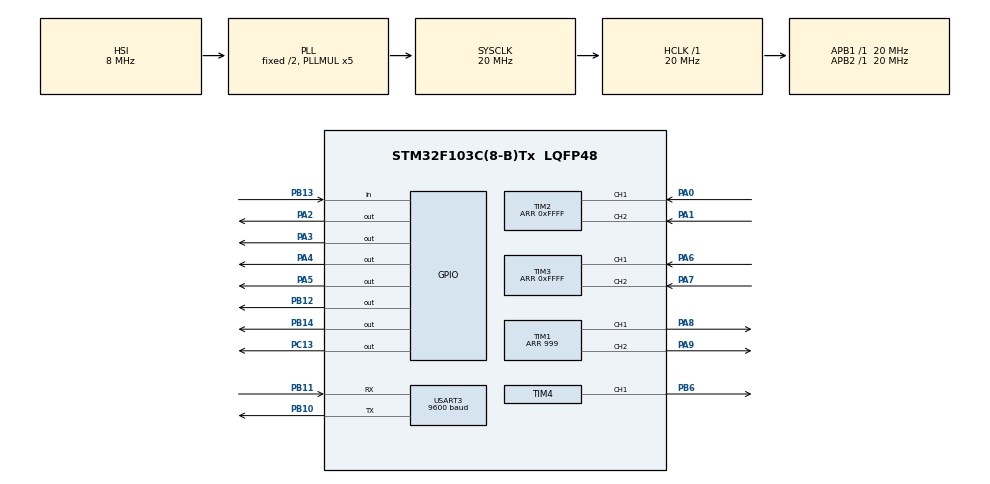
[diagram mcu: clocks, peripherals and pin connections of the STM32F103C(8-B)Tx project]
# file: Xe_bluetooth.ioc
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Mcu.Family=STM32F1
Mcu.Name=STM32F103C(8-B)Tx
Mcu.Package=LQFP48
NVIC.PriorityGroup=NVIC_PRIORITYGROUP_4
NVIC.USART3_IRQn=true\:0\:0\:false\:false\:true\:true\:true\:true
PA0-WKUP.GPIO_PuPd=GPIO_PULLUP
PA0-WKUP.Signal=S_TIM2_CH1_ETR
PA1.GPIO_PuPd=GPIO_PULLUP
PA1.Signal=S_TIM2_CH2
PA13.Mode=Serial_Wire
PA13.Signal=SYS_JTMS-SWDIO
PA14.Mode=Serial_Wire
PA14.Signal=SYS_JTCK-SWCLK
PA2.Signal=GPIO_Output
PA3.Signal=GPIO_Output
PA4.Signal=GPIO_Output
PA5.Signal=GPIO_Output
PA6.GPIO_PuPd=GPIO_PULLUP
PA6.Signal=S_TIM3_CH1
PA7.GPIO_PuPd=GPIO_PULLUP
PA7.Signal=S_TIM3_CH2
PA8.Signal=S_TIM1_CH1
PA9.Signal=S_TIM1_CH2
PB10.Mode=Asynchronous
PB10.Signal=USART3_TX
PB11.Mode=Asynchronous
PB11.Signal=USART3_RX
PB12.Signal=GPIO_Output
PB13.Signal=GPIO_Input
PB14.Signal=GPIO_Output
PB6.Signal=S_TIM4_CH1
PC13-TAMPER-RTC.Signal=GPIO_Output
PD0-OSC_IN.Mode=HSE-External-Oscillator
PD0-OSC_IN.Signal=RCC_OSC_IN
PD1-OSC_OUT.Mode=HSE-External-Oscillator
PD1-OSC_OUT.Signal=RCC_OSC_OUT
ProjectManager.HeapSize=0x200
ProjectManager.StackSize=0x400
ProjectManager.TargetToolchain=STM32CubeIDE
RCC.AHBFreq_Value=20000000
RCC.APB1Freq_Value=20000000
RCC.APB1TimFreq_Value=20000000
RCC.APB2Freq_Value=20000000
RCC.APB2TimFreq_Value=20000000
RCC.HCLKFreq_Value=20000000
RCC.PLLMUL=RCC_PLL_MUL5
RCC.SYSCLKFreq_VALUE=20000000
RCC.SYSCLKSource=RCC_SYSCLKSOURCE_PLLCLK
RCC.USBFreq_Value=20000000
SH.S_TIM1_CH1.0=TIM1_CH1,PWM Generation1 CH1
SH.S_TIM1_CH2.0=TIM1_CH2,PWM Generation2 CH2
SH.S_TIM2_CH1_ETR.0=TIM2_CH1,Encoder_Interface
SH.S_TIM2_CH2.0=TIM2_CH2,Encoder_Interface
SH.S_TIM3_CH1.0=TIM3_CH1,Encoder_Interface
SH.S_TIM3_CH2.0=TIM3_CH2,Encoder_Interface
SH.S_TIM4_CH1.0=TIM4_CH1,PWM Generation1 CH1
TIM1.Channel-PWM\ Generation1\ CH1=TIM_CHANNEL_1
TIM1.Channel-PWM\ Generation2\ CH2=TIM_CHANNEL_2
TIM1.Period=999
TIM2.EncoderMode=TIM_ENCODERMODE_TI12
TIM2.Period=0xFFFF
TIM3.EncoderMode=TIM_ENCODERMODE_TI12
TIM3.Period=0xFFFF
TIM4.Channel-PWM\ Generation1\ CH1=TIM_CHANNEL_1
TIM4.Period=0xffff-1
TIM4.Prescaler=20-1
USART3.BaudRate=9600
USART3.VirtualMode=VM_ASYNC
VP_TIM1_VS_ClockSourceINT.Mode=Internal
VP_TIM4_VS_ClockSourceINT.Mode=Internal
board=custom

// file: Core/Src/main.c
/* USER CODE BEGIN Header */
/**
  ******************************************************************************
  * @file           : main.c
  * @brief          : Main program body
  ******************************************************************************
  * @attention
  *
  * Copyright (c) 2022 STMicroelectronics.
  * All rights reserved.
  *
  * This software is licensed under terms that can be found in the LICENSE file
  * in the root directory of this software component.
  * If no LICENSE file comes with this software, it is provided AS-IS.
  *
  ******************************************************************************
  */
/* USER CODE END Header */
#include "main.h"

TIM_HandleTypeDef htim1;
TIM_HandleTypeDef htim2;
TIM_HandleTypeDef htim3;
TIM_HandleTypeDef htim4;

UART_HandleTypeDef huart3;

/* USER CODE BEGIN PV */
uint8_t Rx_Buff;
uint8_t UART_buffer[1000];
uint8_t UART_num = 0;
uint32_t time = 0;
uint32_t time_pressing = 0;
volatile int16_t en_counter_1 = 0, en_counter_2 = 0, pre_en_counter_1 = 0, pre_encounter_2 = 0;
volatile float rate_1 = 0, rate_2 = 0, rate_60_1 = 0, rate_60_2 = 0;
float Kp1 = 49, Kp2 = 63;
float Ki1 = 0, Ki2 = 0;
float Kd1 = 40, Kd2 = 56;
float PID_val_1, pre_PID_val_1 = 0;
float PID_val_2, pre_PID_val_2 = 0;
float error_1 = 0, pre_error_1 = 0, pre_pre_error_1 = 0, error_2 = 0, pre_error_2 = 0, pre_pre_error_2 = 0;
float first_val = 280;
float P_1 = 0, P_2 = 0;
float I_1 = 0, I_2 = 0;
float D_1 = 0, D_2 = 0;
uint8_t s = 30;
int PID_1 = 0, PID_2 = 0;
int PWM1 = 0, PWM2 = 0;
int condition = 1;
/* USER CODE END PV */

void SystemClock_Config(void);
static void MX_GPIO_Init(void);
static void MX_TIM1_Init(void);
static void MX_TIM2_Init(void);
static void MX_TIM3_Init(void);
static void MX_USART3_UART_Init(void);
static void MX_TIM4_Init(void);

/* USER CODE BEGIN 0 */
void delay_us(uint16_t us){
	htim4.Instance->CNT = 0;
	HAL_TIM_Base_Start(&htim4);
	while(htim4.Instance->CNT < us);
	HAL_TIM_Base_Stop(&htim4);
}

uint8_t get_distance()
{
	HAL_GPIO_WritePin(GPIOB, GPIO_PIN_12, 1);
	delay_us(10);
	HAL_GPIO_WritePin(GPIOB, GPIO_PIN_12, 0);

	while(HAL_GPIO_ReadPin(GPIOB, GPIO_PIN_13) == 0);

	HAL_TIM_Base_Start(&htim4);

	while(1)
	{
		if(HAL_GPIO_ReadPin(GPIOB, GPIO_PIN_13) == 0)
		{
			HAL_TIM_Base_Stop(&htim4);
			break;
		}
		if(htim4.Instance->CNT > 171600)
		{
			HAL_TIM_Base_Stop(&htim4);
			return 0;
		}
	}
	return 0.017 * htim4.Instance->CNT;
}

void cal_pid()
{
	if(HAL_GetTick() - time >= 1000)
	{
//		HAL_GPIO_TogglePin(GPIOC, GPIO_PIN_13);
		rate_1 =(en_counter_1 - pre_en_counter_1)/374.0;
		rate_60_1 = rate_1 * 15;
		rate_2 =(en_counter_2 - pre_encounter_2)/374.0;
		rate_60_2 = rate_2 * 15;

		pre_en_counter_1 = en_counter_1;
		pre_encounter_2 = en_counter_2;

		error_1 = first_val - rate_60_1;
		error_2 = first_val - rate_60_2;

		time = HAL_GetTick();
	}
	en_counter_2 = __HAL_TIM_GET_COUNTER(&htim3);
	en_counter_1 = __HAL_TIM_GET_COUNTER(&htim2);

	P_1 = error_1;
	I_1 = pre_error_1 + error_1;
	D_1 = error_1 - 2*pre_error_1 + pre_pre_error_2;
	PID_val_1 = (Kp1 * P_1) + (Ki1 *0.5 * I_1) + (Kd1 *D_1);
	pre_pre_error_1 = pre_error_1;
	pre_error_1 = error_1;
	pre_PID_val_1 = PID_val_1;
	P_2 = error_2;
	I_2 = pre_error_2 + error_2;
	D_2 = error_2 - 2*pre_error_2 + pre_pre_error_2;
	PID_val_2 = (Kp2 * P_2) + (Ki2 * I_2) + (Kd2 *D_2);
	pre_pre_error_1 = pre_error_1;
	pre_error_2 = error_2;
	pre_PID_val_2 = PID_val_2;
}
void HAL_UART_RxCpltCallback(UART_HandleTypeDef *huart)
{
	if(huart->Instance == huart3.Instance)
	{
		if(UART_num == 0)
		{
			UART_buffer[UART_num] = Rx_Buff;
			UART_num++;
		}
		else
		{
			UART_buffer[UART_num] = Rx_Buff;
			if(UART_buffer[UART_num] == UART_buffer[UART_num - 1])
			{
				UART_num++;
			}
			else
			{
				UART_num = 0;
			}
		}
		HAL_UART_Receive_IT(huart, &Rx_Buff, 1);
	}
}
void ham_chuyen()
{
	if(error_1  < 0)
	{
		PID_1 = first_val - PID_val_1;
	}
	else
	{
		PID_1 = first_val + PID_val_1;
	}
	if(error_2 < 0)
	{
		PID_2 = first_val - PID_val_2;
	}
	else
	{
		PID_2 = first_val + PID_val_2;
	}
	PWM1 = (PID_1 + 86.602)/0.3664;
	PWM2 = (PID_2 + 84.177)/0.3664;

}
void UART_Handle()
{
	if(get_distance() <= s)
	{
		condition = 0;
	}
	else
	{
		condition = 1;
	}
	if (condition == 0)
	{
		HAL_GPIO_WritePin(GPIOB, GPIO_PIN_14, 1);
		switch((char)UART_buffer[0])
					{
					case 'F':
						HAL_GPIO_WritePin(GPIOA, GPIO_PIN_2, 0);
						HAL_GPIO_WritePin(GPIOA, GPIO_PIN_3, 0);
						HAL_GPIO_WritePin(GPIOA, GPIO_PIN_4, 0);
						HAL_GPIO_WritePin(GPIOA, GPIO_PIN_5, 0);
							cal_pid();
							ham_chuyen();
						__HAL_TIM_SET_COMPARE(&htim1,TIM_CHANNEL_1,1000);
						__HAL_TIM_SET_COMPARE(&htim1,TIM_CHANNEL_2,1000);
						break;
					case 'B':
						HAL_GPIO_WritePin(GPIOA, GPIO_PIN_2, 1);
						HAL_GPIO_WritePin(GPIOA, GPIO_PIN_3, 0);
						HAL_GPIO_WritePin(GPIOA, GPIO_PIN_4, 1);
						HAL_GPIO_WritePin(GPIOA, GPIO_PIN_5, 0);
						__HAL_TIM_SET_COMPARE(&htim1,TIM_CHANNEL_1,1000);
						__HAL_TIM_SET_COMPARE(&htim1,TIM_CHANNEL_2,960);
						break;
					case 'L':
						HAL_GPIO_WritePin(GPIOA, GPIO_PIN_2, 0);
						HAL_GPIO_WritePin(GPIOA, GPIO_PIN_3, 1);
						HAL_GPIO_WritePin(GPIOA, GPIO_PIN_4, 0);
						HAL_GPIO_WritePin(GPIOA, GPIO_PIN_5, 0);
						__HAL_TIM_SET_COMPARE(&htim1,TIM_CHANNEL_1,1000);
						__HAL_TIM_SET_COMPARE(&htim1,TIM_CHANNEL_2,1000);
						break;
					case 'R':
						HAL_GPIO_WritePin(GPIOA, GPIO_PIN_2, 0);
						HAL_GPIO_WritePin(GPIOA, GPIO_PIN_3, 0);
						HAL_GPIO_WritePin(GPIOA, GPIO_PIN_4, 0);
						HAL_GPIO_WritePin(GPIOA, GPIO_PIN_5, 1);
						__HAL_TIM_SET_COMPARE(&htim1,TIM_CHANNEL_1,1000);
						__HAL_TIM_SET_COMPARE(&htim1,TIM_CHANNEL_2,1000);
						break;

					case 'I':
						HAL_GPIO_WritePin(GPIOA, GPIO_PIN_2, 0);
						HAL_GPIO_WritePin(GPIOA, GPIO_PIN_3, 1);
						HAL_GPIO_WritePin(GPIOA, GPIO_PIN_4, 0);
						HAL_GPIO_WritePin(GPIOA, GPIO_PIN_5, 1);
						__HAL_TIM_SET_COMPARE(&htim1,TIM_CHANNEL_1,700);
						__HAL_TIM_SET_COMPARE(&htim1,TIM_CHANNEL_2,1000);
						break;
					case 'J':
						HAL_GPIO_WritePin(GPIOA, GPIO_PIN_2, 1);
						HAL_GPIO_WritePin(GPIOA, GPIO_PIN_3, 0);
						HAL_GPIO_WritePin(GPIOA, GPIO_PIN_4, 1);
						HAL_GPIO_WritePin(GPIOA, GPIO_PIN_5, 0);
						__HAL_TIM_SET_COMPARE(&htim1,TIM_CHANNEL_1,700);
						__HAL_TIM_SET_COMPARE(&htim1,TIM_CHANNEL_2,1000);
						break;
					case 'G':
						HAL_GPIO_WritePin(GPIOA, GPIO_PIN_2, 0);
						HAL_GPIO_WritePin(GPIOA, GPIO_PIN_3, 1);
						HAL_GPIO_WritePin(GPIOA, GPIO_PIN_4, 0);
						HAL_GPIO_WritePin(GPIOA, GPIO_PIN_5, 1);
						__HAL_TIM_SET_COMPARE(&htim1,TIM_CHANNEL_1,1000);
						__HAL_TIM_SET_COMPARE(&htim1,TIM_CHANNEL_2,700);
						break;
					case 'H':
						HAL_GPIO_WritePin(GPIOA, GPIO_PIN_2, 1);
						HAL_GPIO_WritePin(GPIOA, GPIO_PIN_3, 0);
						HAL_GPIO_WritePin(GPIOA, GPIO_PIN_4, 1);
						HAL_GPIO_WritePin(GPIOA, GPIO_PIN_5, 0);
						__HAL_TIM_SET_COMPARE(&htim1,TIM_CHANNEL_1,1000);
						__HAL_TIM_SET_COMPARE(&htim1,TIM_CHANNEL_2,700);
						break;
					default:
						HAL_GPIO_WritePin(GPIOA, GPIO_PIN_2, 0);
						HAL_GPIO_WritePin(GPIOA, GPIO_PIN_3, 0);
						HAL_GPIO_WritePin(GPIOA, GPIO_PIN_4, 0);
						HAL_GPIO_WritePin(GPIOA, GPIO_PIN_5, 0);
						break;
					}
	}
	if (condition ==1)
	{
 		HAL_GPIO_WritePin(GPIOB, GPIO_PIN_14, 0);
		switch((char)UART_buffer[0])
			{
			case 'F':
				HAL_GPIO_WritePin(GPIOC, GPIO_PIN_13, 0);
				HAL_GPIO_WritePin(GPIOA, GPIO_PIN_2, 0);
				HAL_GPIO_WritePin(GPIOA, GPIO_PIN_3, 1);
				HAL_GPIO_WritePin(GPIOA, GPIO_PIN_4, 0);
				HAL_GPIO_WritePin(GPIOA, GPIO_PIN_5, 1);
					cal_pid();
					ham_chuyen();
				__HAL_TIM_SET_COMPARE(&htim1,TIM_CHANNEL_1,PWM2);
				__HAL_TIM_SET_COMPARE(&htim1,TIM_CHANNEL_2,PWM1);

				break;
			case 'B':
				HAL_GPIO_WritePin(GPIOA, GPIO_PIN_2, 1);
				HAL_GPIO_WritePin(GPIOA, GPIO_PIN_3, 0);
				HAL_GPIO_WritePin(GPIOA, GPIO_PIN_4, 1);
				HAL_GPIO_WritePin(GPIOA, GPIO_PIN_5, 0);
				__HAL_TIM_SET_COMPARE(&htim1,TIM_CHANNEL_1,1000);
				__HAL_TIM_SET_COMPARE(&htim1,TIM_CHANNEL_2,960);
				break;
			case 'L':
				HAL_GPIO_WritePin(GPIOA, GPIO_PIN_2, 0);
				HAL_GPIO_WritePin(GPIOA, GPIO_PIN_3, 1);
				HAL_GPIO_WritePin(GPIOA, GPIO_PIN_4, 0);
				HAL_GPIO_WritePin(GPIOA, GPIO_PIN_5, 0);
				__HAL_TIM_SET_COMPARE(&htim1,TIM_CHANNEL_1,1000);
				__HAL_TIM_SET_COMPARE(&htim1,TIM_CHANNEL_2,1000);
				break;
			case 'R':
				HAL_GPIO_WritePin(GPIOA, GPIO_PIN_2, 0);
				HAL_GPIO_WritePin(GPIOA, GPIO_PIN_3, 0);
				HAL_GPIO_WritePin(GPIOA, GPIO_PIN_4, 0);
				HAL_GPIO_WritePin(GPIOA, GPIO_PIN_5, 1);
				__HAL_TIM_SET_COMPARE(&htim1,TIM_CHANNEL_1,1000);
				__HAL_TIM_SET_COMPARE(&htim1,TIM_CHANNEL_2,1000);
				break;

			case 'I':
				HAL_GPIO_WritePin(GPIOA, GPIO_PIN_2, 0);
				HAL_GPIO_WritePin(GPIOA, GPIO_PIN_3, 1);
				HAL_GPIO_WritePin(GPIOA, GPIO_PIN_4, 0);
				HAL_GPIO_WritePin(GPIOA, GPIO_PIN_5, 1);
				__HAL_TIM_SET_COMPARE(&htim1,TIM_CHANNEL_1,700);
				__HAL_TIM_SET_COMPARE(&htim1,TIM_CHANNEL_2,1000);
				break;
			case 'J':
				HAL_GPIO_WritePin(GPIOA, GPIO_PIN_2, 1);
				HAL_GPIO_WritePin(GPIOA, GPIO_PIN_3, 0);
				HAL_GPIO_WritePin(GPIOA, GPIO_PIN_4, 1);
				HAL_GPIO_WritePin(GPIOA, GPIO_PIN_5, 0);
				__HAL_TIM_SET_COMPARE(&htim1,TIM_CHANNEL_1,700);
				__HAL_TIM_SET_COMPARE(&htim1,TIM_CHANNEL_2,1000);
				break;
			case 'G':
				HAL_GPIO_WritePin(GPIOA, GPIO_PIN_2, 0);
				HAL_GPIO_WritePin(GPIOA, GPIO_PIN_3, 1);
				HAL_GPIO_WritePin(GPIOA, GPIO_PIN_4, 0);
				HAL_GPIO_WritePin(GPIOA, GPIO_PIN_5, 1);
				__HAL_TIM_SET_COMPARE(&htim1,TIM_CHANNEL_1,1000);
				__HAL_TIM_SET_COMPARE(&htim1,TIM_CHANNEL_2,700);
				break;
			case 'H':
				HAL_GPIO_WritePin(GPIOA, GPIO_PIN_2, 1);
				HAL_GPIO_WritePin(GPIOA, GPIO_PIN_3, 0);
				HAL_GPIO_WritePin(GPIOA, GPIO_PIN_4, 1);
				HAL_GPIO_WritePin(GPIOA, GPIO_PIN_5, 0);
				__HAL_TIM_SET_COMPARE(&htim1,TIM_CHANNEL_1,1000);
				__HAL_TIM_SET_COMPARE(&htim1,TIM_CHANNEL_2,700);
				break;
			default:
				HAL_GPIO_WritePin(GPIOA, GPIO_PIN_2, 0);
				HAL_GPIO_WritePin(GPIOA, GPIO_PIN_3, 0);
				HAL_GPIO_WritePin(GPIOA, GPIO_PIN_4, 0);
				HAL_GPIO_WritePin(GPIOA, GPIO_PIN_5, 0);
				break;
			}
	}
}

/* USER CODE END 0 */

int main(void)
{

  /* MCU Configuration--------------------------------------------------------*/

  /* Reset of all peripherals, Initializes the Flash interface and the Systick. */
  HAL_Init();

  /* Configure the system clock */
  SystemClock_Config();

  /* Initialize all configured peripherals */
  MX_GPIO_Init();
  MX_TIM1_Init();
  MX_TIM2_Init();
  MX_TIM3_Init();
  MX_USART3_UART_Init();
  MX_TIM4_Init();
  /* USER CODE BEGIN 2 */
  HAL_UART_Receive_IT(&huart3, &Rx_Buff, 1);
  HAL_TIM_PWM_Start(&htim1, TIM_CHANNEL_1);
  HAL_TIM_PWM_Start(&htim1, TIM_CHANNEL_2);
  HAL_TIM_Encoder_Start(&htim2, TIM_CHANNEL_ALL);
  HAL_TIM_Encoder_Start(&htim3, TIM_CHANNEL_ALL);
  /* USER CODE END 2 */

  /* Infinite loop */
  while (1)
  {

    /* USER CODE BEGIN 3 */
	  UART_Handle();
  }
  /* USER CODE END 3 */
}

void SystemClock_Config(void)
{
  RCC_OscInitTypeDef RCC_OscInitStruct = {0};
  RCC_ClkInitTypeDef RCC_ClkInitStruct = {0};

  /** Initializes the RCC Oscillators according to the specified parameters
  * in the RCC_OscInitTypeDef structure.
  */
  RCC_OscInitStruct.OscillatorType = RCC_OSCILLATORTYPE_HSI;
  RCC_OscInitStruct.HSIState = RCC_HSI_ON;
  RCC_OscInitStruct.HSICalibrationValue = RCC_HSICALIBRATION_DEFAULT;
  RCC_OscInitStruct.PLL.PLLState = RCC_PLL_ON;
  RCC_OscInitStruct.PLL.PLLSource = RCC_PLLSOURCE_HSI_DIV2;
  RCC_OscInitStruct.PLL.PLLMUL = RCC_PLL_MUL5;
  if (HAL_RCC_OscConfig(&RCC_OscInitStruct) != HAL_OK)
  {
    Error_Handler();
  }

  /** Initializes the CPU, AHB and APB buses clocks
  */
  RCC_ClkInitStruct.ClockType = RCC_CLOCKTYPE_HCLK|RCC_CLOCKTYPE_SYSCLK
                              |RCC_CLOCKTYPE_PCLK1|RCC_CLOCKTYPE_PCLK2;
  RCC_ClkInitStruct.SYSCLKSource = RCC_SYSCLKSOURCE_PLLCLK;
  RCC_ClkInitStruct.AHBCLKDivider = RCC_SYSCLK_DIV1;
  RCC_ClkInitStruct.APB1CLKDivider = RCC_HCLK_DIV1;
  RCC_ClkInitStruct.APB2CLKDivider = RCC_HCLK_DIV1;

  if (HAL_RCC_ClockConfig(&RCC_ClkInitStruct, FLASH_LATENCY_0) != HAL_OK)
  {
    Error_Handler();
  }
}

static void MX_TIM1_Init(void)
{

  TIM_ClockConfigTypeDef sClockSourceConfig = {0};
  TIM_MasterConfigTypeDef sMasterConfig = {0};
  TIM_OC_InitTypeDef sConfigOC = {0};
  TIM_BreakDeadTimeConfigTypeDef sBreakDeadTimeConfig = {0};

  htim1.Instance = TIM1;
  htim1.Init.Prescaler = 0;
  htim1.Init.CounterMode = TIM_COUNTERMODE_UP;
  htim1.Init.Period = 999;
  htim1.Init.ClockDivision = TIM_CLOCKDIVISION_DIV1;
  htim1.Init.RepetitionCounter = 0;
  htim1.Init.AutoReloadPreload = TIM_AUTORELOAD_PRELOAD_DISABLE;
  if (HAL_TIM_Base_Init(&htim1) != HAL_OK)
  {
    Error_Handler();
  }
  sClockSourceConfig.ClockSource = TIM_CLOCKSOURCE_INTERNAL;
  if (HAL_TIM_ConfigClockSource(&htim1, &sClockSourceConfig) != HAL_OK)
  {
    Error_Handler();
  }
  if (HAL_TIM_PWM_Init(&htim1) != HAL_OK)
  {
    Error_Handler();
  }
  sMasterConfig.MasterOutputTrigger = TIM_TRGO_RESET;
  sMasterConfig.MasterSlaveMode = TIM_MASTERSLAVEMODE_DISABLE;
  if (HAL_TIMEx_MasterConfigSynchronization(&htim1, &sMasterConfig) != HAL_OK)
  {
    Error_Handler();
  }
  sConfigOC.OCMode = TIM_OCMODE_PWM1;
  sConfigOC.Pulse = 0;
  sConfigOC.OCPolarity = TIM_OCPOLARITY_HIGH;
  sConfigOC.OCNPolarity = TIM_OCNPOLARITY_HIGH;
  sConfigOC.OCFastMode = TIM_OCFAST_DISABLE;
  sConfigOC.OCIdleState = TIM_OCIDLESTATE_RESET;
  sConfigOC.OCNIdleState = TIM_OCNIDLESTATE_RESET;
  if (HAL_TIM_PWM_ConfigChannel(&htim1, &sConfigOC, TIM_CHANNEL_1) != HAL_OK)
  {
    Error_Handler();
  }
  if (HAL_TIM_PWM_ConfigChannel(&htim1, &sConfigOC, TIM_CHANNEL_2) != HAL_OK)
  {
    Error_Handler();
  }
  sBreakDeadTimeConfig.OffStateRunMode = TIM_OSSR_DISABLE;
  sBreakDeadTimeConfig.OffStateIDLEMode = TIM_OSSI_DISABLE;
  sBreakDeadTimeConfig.LockLevel = TIM_LOCKLEVEL_OFF;
  sBreakDeadTimeConfig.DeadTime = 0;
  sBreakDeadTimeConfig.BreakState = TIM_BREAK_DISABLE;
  sBreakDeadTimeConfig.BreakPolarity = TIM_BREAKPOLARITY_HIGH;
  sBreakDeadTimeConfig.AutomaticOutput = TIM_AUTOMATICOUTPUT_DISABLE;
  if (HAL_TIMEx_ConfigBreakDeadTime(&htim1, &sBreakDeadTimeConfig) != HAL_OK)
  {
    Error_Handler();
  }
  HAL_TIM_MspPostInit(&htim1);

}

static void MX_TIM2_Init(void)
{

  TIM_Encoder_InitTypeDef sConfig = {0};
  TIM_MasterConfigTypeDef sMasterConfig = {0};

  htim2.Instance = TIM2;
  htim2.Init.Prescaler = 0;
  htim2.Init.CounterMode = TIM_COUNTERMODE_UP;
  htim2.Init.Period = 0xFFFF;
  htim2.Init.ClockDivision = TIM_CLOCKDIVISION_DIV1;
  htim2.Init.AutoReloadPreload = TIM_AUTORELOAD_PRELOAD_DISABLE;
  sConfig.EncoderMode = TIM_ENCODERMODE_TI12;
  sConfig.IC1Polarity = TIM_ICPOLARITY_RISING;
  sConfig.IC1Selection = TIM_ICSELECTION_DIRECTTI;
  sConfig.IC1Prescaler = TIM_ICPSC_DIV1;
  sConfig.IC1Filter = 0;
  sConfig.IC2Polarity = TIM_ICPOLARITY_RISING;
  sConfig.IC2Selection = TIM_ICSELECTION_DIRECTTI;
  sConfig.IC2Prescaler = TIM_ICPSC_DIV1;
  sConfig.IC2Filter = 0;
  if (HAL_TIM_Encoder_Init(&htim2, &sConfig) != HAL_OK)
  {
    Error_Handler();
  }
  sMasterConfig.MasterOutputTrigger = TIM_TRGO_RESET;
  sMasterConfig.MasterSlaveMode = TIM_MASTERSLAVEMODE_DISABLE;
  if (HAL_TIMEx_MasterConfigSynchronization(&htim2, &sMasterConfig) != HAL_OK)
  {
    Error_Handler();
  }

}

static void MX_TIM3_Init(void)
{

  TIM_Encoder_InitTypeDef sConfig = {0};
  TIM_MasterConfigTypeDef sMasterConfig = {0};

  htim3.Instance = TIM3;
  htim3.Init.Prescaler = 0;
  htim3.Init.CounterMode = TIM_COUNTERMODE_UP;
  htim3.Init.Period = 0xFFFF;
  htim3.Init.ClockDivision = TIM_CLOCKDIVISION_DIV1;
  htim3.Init.AutoReloadPreload = TIM_AUTORELOAD_PRELOAD_DISABLE;
  sConfig.EncoderMode = TIM_ENCODERMODE_TI12;
  sConfig.IC1Polarity = TIM_ICPOLARITY_RISING;
  sConfig.IC1Selection = TIM_ICSELECTION_DIRECTTI;
  sConfig.IC1Prescaler = TIM_ICPSC_DIV1;
  sConfig.IC1Filter = 0;
  sConfig.IC2Polarity = TIM_ICPOLARITY_RISING;
  sConfig.IC2Selection = TIM_ICSELECTION_DIRECTTI;
  sConfig.IC2Prescaler = TIM_ICPSC_DIV1;
  sConfig.IC2Filter = 0;
  if (HAL_TIM_Encoder_Init(&htim3, &sConfig) != HAL_OK)
  {
    Error_Handler();
  }
  sMasterConfig.MasterOutputTrigger = TIM_TRGO_RESET;
  sMasterConfig.MasterSlaveMode = TIM_MASTERSLAVEMODE_DISABLE;
  if (HAL_TIMEx_MasterConfigSynchronization(&htim3, &sMasterConfig) != HAL_OK)
  {
    Error_Handler();
  }

}

static void MX_TIM4_Init(void)
{

  TIM_ClockConfigTypeDef sClockSourceConfig = {0};
  TIM_MasterConfigTypeDef sMasterConfig = {0};
  TIM_OC_InitTypeDef sConfigOC = {0};

  htim4.Instance = TIM4;
  htim4.Init.Prescaler = 20-1;
  htim4.Init.CounterMode = TIM_COUNTERMODE_UP;
  htim4.Init.Period = 0xffff-1;
  htim4.Init.ClockDivision = TIM_CLOCKDIVISION_DIV1;
  htim4.Init.AutoReloadPreload = TIM_AUTORELOAD_PRELOAD_DISABLE;
  if (HAL_TIM_Base_Init(&htim4) != HAL_OK)
  {
    Error_Handler();
  }
  sClockSourceConfig.ClockSource = TIM_CLOCKSOURCE_INTERNAL;
  if (HAL_TIM_ConfigClockSource(&htim4, &sClockSourceConfig) != HAL_OK)
  {
    Error_Handler();
  }
  if (HAL_TIM_PWM_Init(&htim4) != HAL_OK)
  {
    Error_Handler();
  }
  sMasterConfig.MasterOutputTrigger = TIM_TRGO_RESET;
  sMasterConfig.MasterSlaveMode = TIM_MASTERSLAVEMODE_DISABLE;
  if (HAL_TIMEx_MasterConfigSynchronization(&htim4, &sMasterConfig) != HAL_OK)
  {
    Error_Handler();
  }
  sConfigOC.OCMode = TIM_OCMODE_PWM1;
  sConfigOC.Pulse = 0;
  sConfigOC.OCPolarity = TIM_OCPOLARITY_HIGH;
  sConfigOC.OCFastMode = TIM_OCFAST_DISABLE;
  if (HAL_TIM_PWM_ConfigChannel(&htim4, &sConfigOC, TIM_CHANNEL_1) != HAL_OK)
  {
    Error_Handler();
  }
  HAL_TIM_MspPostInit(&htim4);

}

static void MX_USART3_UART_Init(void)
{

  huart3.Instance = USART3;
  huart3.Init.BaudRate = 9600;
  huart3.Init.WordLength = UART_WORDLENGTH_8B;
  huart3.Init.StopBits = UART_STOPBITS_1;
  huart3.Init.Parity = UART_PARITY_NONE;
  huart3.Init.Mode = UART_MODE_TX_RX;
  huart3.Init.HwFlowCtl = UART_HWCONTROL_NONE;
  huart3.Init.OverSampling = UART_OVERSAMPLING_16;
  if (HAL_UART_Init(&huart3) != HAL_OK)
  {
    Error_Handler();
  }

}

static void MX_GPIO_Init(void)
{
  GPIO_InitTypeDef GPIO_InitStruct = {0};

  /* GPIO Ports Clock Enable */
  __HAL_RCC_GPIOC_CLK_ENABLE();
  __HAL_RCC_GPIOD_CLK_ENABLE();
  __HAL_RCC_GPIOA_CLK_ENABLE();
  __HAL_RCC_GPIOB_CLK_ENABLE();

  /*Configure GPIO pin Output Level */
  HAL_GPIO_WritePin(GPIOC, GPIO_PIN_13, GPIO_PIN_RESET);

  /*Configure GPIO pin Output Level */
  HAL_GPIO_WritePin(GPIOA, GPIO_PIN_2|GPIO_PIN_3|GPIO_PIN_4|GPIO_PIN_5, GPIO_PIN_RESET);

  /*Configure GPIO pin Output Level */
  HAL_GPIO_WritePin(GPIOB, GPIO_PIN_12|GPIO_PIN_14, GPIO_PIN_RESET);

  /*Configure GPIO pin : PC13 */
  GPIO_InitStruct.Pin = GPIO_PIN_13;
  GPIO_InitStruct.Mode = GPIO_MODE_OUTPUT_PP;
  GPIO_InitStruct.Pull = GPIO_NOPULL;
  GPIO_InitStruct.Speed = GPIO_SPEED_FREQ_LOW;
  HAL_GPIO_Init(GPIOC, &GPIO_InitStruct);

  /*Configure GPIO pins : PA2 PA3 PA4 PA5 */
  GPIO_InitStruct.Pin = GPIO_PIN_2|GPIO_PIN_3|GPIO_PIN_4|GPIO_PIN_5;
  GPIO_InitStruct.Mode = GPIO_MODE_OUTPUT_PP;
  GPIO_InitStruct.Pull = GPIO_NOPULL;
  GPIO_InitStruct.Speed = GPIO_SPEED_FREQ_LOW;
  HAL_GPIO_Init(GPIOA, &GPIO_InitStruct);

  /*Configure GPIO pins : PB12 PB14 */
  GPIO_InitStruct.Pin = GPIO_PIN_12|GPIO_PIN_14;
  GPIO_InitStruct.Mode = GPIO_MODE_OUTPUT_PP;
  GPIO_InitStruct.Pull = GPIO_NOPULL;
  GPIO_InitStruct.Speed = GPIO_SPEED_FREQ_LOW;
  HAL_GPIO_Init(GPIOB, &GPIO_InitStruct);

  /*Configure GPIO pin : PB13 */
  GPIO_InitStruct.Pin = GPIO_PIN_13;
  GPIO_InitStruct.Mode = GPIO_MODE_INPUT;
  GPIO_InitStruct.Pull = GPIO_NOPULL;
  HAL_GPIO_Init(GPIOB, &GPIO_InitStruct);

}

void Error_Handler(void)
{
  __disable_irq();
  while (1)
  {
  }
}
